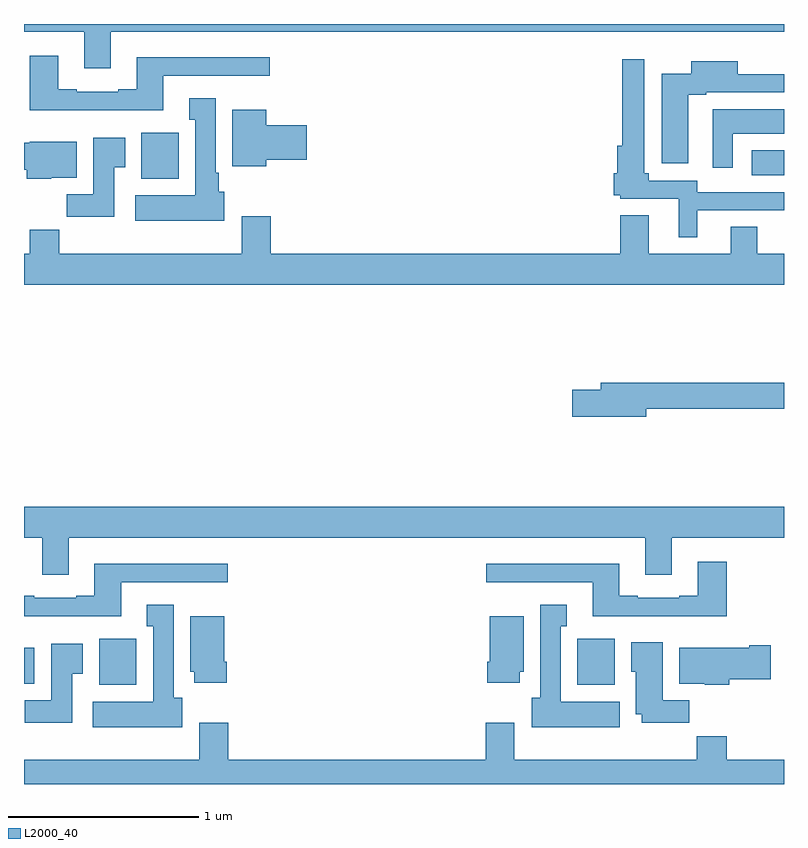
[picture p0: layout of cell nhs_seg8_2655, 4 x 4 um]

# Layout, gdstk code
import gdstk
lib = gdstk.Library(unit=1e-6, precision=1e-09)
def R(c, l, rs):  # rectangles x0, y0, x1, y1
    for r in rs: c.add(gdstk.rectangle(r[:2], r[2:], *l))
def P(c, l, *ps):  # polygons
    for p in ps: c.add(gdstk.Polygon(p, *l))
L2000_40 = (2000, 40)

nhs_seg8_2655 = lib.new_cell('nhs_seg8_2655')
R(nhs_seg8_2655, L2000_40, [(279.395,1086.422,279.592,1086.664), (281.912,1086.422,282.109,1086.664), (279,1086.428,279.055,1086.616), (279.617,1089.086,279.814,1089.328), (282.831,1089.104,283,1089.235)])
P(nhs_seg8_2655, L2000_40, [(279.457,1089.86),(283,1089.86),(283,1089.9),(279,1089.9),(279,1089.86),(279.317,1089.86),(279.317,1089.666),(279.457,1089.666)],
  [(279.733,1089.627),(280.294,1089.627),(280.294,1089.724),(279.593,1089.724),(279.593,1089.556),(279.497,1089.556),(279.497,1089.543),(279.277,1089.543),(279.277,1089.556),(279.181,1089.556),(279.181,1089.733),(279.029,1089.733),(279.029,1089.446),(279.733,1089.446)],
  [(282.544,1088.919),(283,1088.919),(283,1089.015),(282.543,1089.015),(282.543,1089.075),(282.287,1089.075),(282.287,1089.114),(282.264,1089.114),(282.264,1089.715),(282.148,1089.715),(282.148,1089.259),(282.122,1089.259),(282.122,1089.114),(282.104,1089.114),(282.104,1089),(282.138,1089),(282.138,1088.979),(282.446,1088.979),(282.446,1088.778),(282.544,1088.778)],
  [(282.496,1089.528),(282.592,1089.528),(282.592,1089.54),(283,1089.54),(283,1089.636),(282.757,1089.636),(282.757,1089.703),(282.512,1089.703),(282.512,1089.639),(282.356,1089.639),(282.356,1089.168),(282.496,1089.168)],
  [(280.054,1089.018),(280.024,1089.018),(280.024,1089.118),(280.009,1089.118),(280.009,1089.508),(279.869,1089.508),(279.869,1089.395),(279.902,1089.395),(279.902,1088.998),(279.585,1088.998),(279.585,1088.864),(280.054,1088.864)],
  [(282.73,1089.323),(283,1089.323),(283,1089.451),(282.626,1089.451),(282.626,1089.144),(282.73,1089.144)],
  [(280.276,1089.185),(280.489,1089.185),(280.489,1089.368),(280.276,1089.368),(280.276,1089.448),(280.097,1089.448),(280.097,1089.152),(280.276,1089.152)],
  [(279.475,1089.145),(279.532,1089.145),(279.532,1089.301),(279.365,1089.301),(279.365,1089.004),(279.226,1089.004),(279.226,1088.886),(279.475,1088.886)],
  [(279.144,1089.092),(279.277,1089.092),(279.277,1089.28),(279.03,1089.28),(279.03,1089.275),(279,1089.275),(279,1089.133),(279.014,1089.133),(279.014,1089.086),(279.144,1089.086)],
  [(283,1088.692),(282.859,1088.692),(282.859,1088.834),(282.719,1088.834),(282.719,1088.692),(282.289,1088.692),(282.289,1088.894),(282.137,1088.894),(282.137,1088.692),(280.298,1088.692),(280.298,1088.887),(280.145,1088.887),(280.145,1088.692),(279.185,1088.692),(279.185,1088.816),(279.029,1088.816),(279.029,1088.692),(279,1088.692),(279,1088.528),(283,1088.528)],
  [(282.274,1087.876),(283,1087.876),(283,1088.012),(282.035,1088.012),(282.035,1087.976),(281.886,1087.976),(281.886,1087.834),(282.274,1087.834)],
  [(279.235,1087.196),(282.269,1087.196),(282.269,1087.002),(282.409,1087.002),(282.409,1087.196),(283,1087.196),(283,1087.36),(279,1087.36),(279,1087.196),(279.095,1087.196),(279.095,1087.002),(279.235,1087.002)],
  [(282.698,1087.069),(282.545,1087.069),(282.545,1086.892),(282.449,1086.892),(282.449,1086.879),(282.229,1086.879),(282.229,1086.892),(282.133,1086.892),(282.133,1087.06),(281.433,1087.06),(281.433,1086.963),(281.993,1086.963),(281.993,1086.782),(282.698,1086.782)],
  [(279.511,1086.963),(280.072,1086.963),(280.072,1087.06),(279.371,1087.06),(279.371,1086.892),(279.275,1086.892),(279.275,1086.879),(279.055,1086.879),(279.055,1086.892),(279,1086.892),(279,1086.782),(279.511,1086.782)],
  [(279.832,1086.354),(279.787,1086.354),(279.787,1086.844),(279.647,1086.844),(279.647,1086.731),(279.68,1086.731),(279.68,1086.334),(279.363,1086.334),(279.363,1086.2),(279.832,1086.2)],
  [(282.136,1086.334),(281.824,1086.334),(281.824,1086.731),(281.857,1086.731),(281.857,1086.844),(281.717,1086.844),(281.717,1086.354),(281.672,1086.354),(281.672,1086.2),(282.136,1086.2)],
  [(281.608,1086.492),(281.629,1086.492),(281.629,1086.784),(281.45,1086.784),(281.45,1086.544),(281.438,1086.544),(281.438,1086.432),(281.608,1086.432)],
  [(280.067,1086.544),(280.054,1086.544),(280.054,1086.784),(279.875,1086.784),(279.875,1086.492),(279.896,1086.492),(279.896,1086.432),(280.067,1086.432)],
  [(282.5,1086.34),(282.361,1086.34),(282.361,1086.646),(282.197,1086.646),(282.197,1086.492),(282.221,1086.492),(282.221,1086.266),(282.251,1086.266),(282.251,1086.222),(282.5,1086.222)],
  [(279.253,1086.481),(279.31,1086.481),(279.31,1086.637),(279.143,1086.637),(279.143,1086.34),(279.004,1086.34),(279.004,1086.222),(279.253,1086.222)],
  [(282.713,1086.451),(282.931,1086.451),(282.931,1086.629),(282.818,1086.629),(282.818,1086.616),(282.449,1086.616),(282.449,1086.428),(282.582,1086.428),(282.582,1086.422),(282.713,1086.422)],
  [(283,1086.028),(282.698,1086.028),(282.698,1086.152),(282.541,1086.152),(282.541,1086.028),(281.581,1086.028),(281.581,1086.223),(281.429,1086.223),(281.429,1086.028),(280.076,1086.028),(280.076,1086.223),(279.923,1086.223),(279.923,1086.028),(279,1086.028),(279,1085.9),(283,1085.9)])

lib.write_gds('nhs_seg8_2655.gds')
